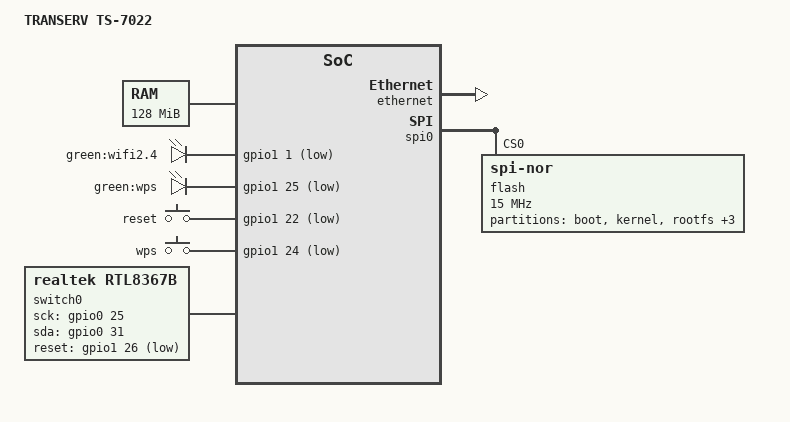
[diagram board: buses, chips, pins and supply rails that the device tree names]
// SPDX-License-Identifier: GPL-2.0
/*
 * TRANSERV TS-7022 (МТС) — Realtek RTL8197F-VG
 *
 * Данные сняты с живого устройства 2026-11-25:
 *   /proc/cpuinfo, /proc/mtd, /proc/iomem, /proc/interrupts,
 *   полный дамп флеша (16 МБ) и boot-log с холодного старта.
 *
 *   SoC     RTL8197F-VG (в логе "8197FS-VG"), MIPS 24Kc @ 999 МГц
 *   DRAM    DDR2 533 МГц, 128 МБ ("Detect dram size = 128MB")
 *   Flash   MXIC 16 МБ, erase 64K, SPI 15 МГц
 *   Switch  RTL8367B, chip id 0x6367-0020
 *   WiFi    2.4G встроенный RTL8197G; 5G RTL8812F по PCIe (10ec:f812)
 *   UART    ttyS0 @ 0x18147000, 38400 8N1
 *
 * Отличия от ELECTRA RX23302 (эталонного порта):
 *   - сигнатура загрузчика "KM70", а не "KE32";
 *   - rootfs начинается с 0x270000, а не с 0x300000;
 *   - раздел kernel 0x30000..0x270000 (0x240000), а не 0x2d0000;
 *   - 128 МБ ОЗУ;
 *   - свитч RTL8367B (0x6367), а не RTL8367D (0x6642).
 *
 * Второй банк 0x800000..0x1000000 — заводская копия, только чтение.
 * Область 0x0..0x30000 не трогать: bootcode (0x0..0x20000) и hwconfig
 * (0x20000..0x30000) с MAC-адресами и калибровкой радио.
 */

/dts-v1/;

#include "RTL8197FVG.dtsi"

#include <dt-bindings/gpio/gpio.h>
#include <dt-bindings/input/input.h>

/ {
	compatible = "transerv,ts7022", "realtek,rtl8197f-soc";
	model = "TRANSERV TS-7022";

	memory {
		device_type = "memory";
		reg = <0x0 0x8000000>;
	};

	chosen {
		bootargs = "console=ttyS0,38400";
	};
};

&ethernet {
	status = "okay";

	/*
	 * MAC из заводской таблицы hwconfig: заголовок "H601" на 0x20000,
	 * первая запись по 0x20007. В нашем дампе там f4:e5:78:66:61:0e.
	 */
	nvmem-cells = <&mac_factory>;
	nvmem-cell-names = "mac-address";
};

&spi0 {
	status = "okay";

	flash@0 {
		#address-cells = <1>;
		#size-cells = <1>;
		compatible = "jedec,spi-nor";
		reg = <0>;

		/* Как у стока: 15 МГц, делитель 7. */
		spi-max-frequency = <15000000>;

		partitions {
			compatible = "fixed-partitions";
			#address-cells = <1>;
			#size-cells = <1>;

			partition@0 {
				label = "boot";
				reg = <0x000000 0x030000>;
				read-only;

				#address-cells = <1>;
				#size-cells = <1>;

				nvmem-layout {
					compatible = "fixed-layout";
					#address-cells = <1>;
					#size-cells = <1>;

					mac_factory: macaddr@20007 {
						compatible = "mac-base";
						reg = <0x20007 0x6>;
					};
				};
			};

			partition@30000 {
				label = "kernel";
				reg = <0x030000 0x240000>;
			};

			partition@270000 {
				label = "rootfs";
				reg = <0x270000 0x390000>;
			};

			partition@600000 {
				label = "rootfs_data";
				reg = <0x600000 0x1a0000>;
			};

			partition@7a0000 {
				label = "cfg";
				reg = <0x7a0000 0x060000>;
				read-only;
			};

			partition@800000 {
				label = "stock";
				reg = <0x800000 0x800000>;
				read-only;
			};
		};
	};
};

/*
 * GPIO: два банка по 32 линии. gpio0 - линии 0..31, gpio1 - 32..63
 * (номер линии внутри банка = линия - 32). Оба контроллера в dtsi
 * выключены, включаем здесь.
 */
&gpio0 {
	status = "okay";
};

&gpio1 {
	status = "okay";
};

/*
 * Светодиоды. Таблица снята со стокового ядра (0x6557b0, num_leds=3):
 *
 *   имя       линия  вывод  активный уровень
 *   wifi2.4   33     E1     0 (низкий = горит)
 *   wifi5     100    -      0
 *   wps       57     H1     0
 *
 * wifi5 на линии 100 сидит не на этих контроллерах (банки кончаются на
 * 63) и в стоке зажигается отдельным путём rtlk_set_led из драйвера
 * радио, поэтому в gpio-leds его нет: 5G будет работать без лампы.
 *
 * У wifi2.4 пин E1 по умолчанию занят альтернативной функцией; setup.c
 * переводит его в GPIO (BSP_PIN_MUX_SEL17, 0xB8000844, бит 28), но
 * драйвер радио после своего probe забирает пин обратно - поэтому
 * init.d/rx23302-led повторяет эту запись на каждой загрузке.
 *
 * Триггер в стоке - none: лампами управляет userspace. У нас wifi2.4
 * зажигается сразу (видно, что устройство живо), а netdev-триггер на
 * wlan0 ставит uci-defaults/99-rx23302-leds.
 */
/ {
	leds {
		compatible = "gpio-leds";

		wifi24_led: wifi2.4 {
			label = "green:wifi2.4";
			gpios = <&gpio1 1 GPIO_ACTIVE_LOW>;	/* линия 33, E1 */
			default-state = "on";
		};

		wps_led: wps {
			label = "green:wps";
			gpios = <&gpio1 25 GPIO_ACTIVE_LOW>;	/* линия 57, H1 */
			default-state = "off";
		};
	};
};

/*
 * Кнопки. Из стоковой функции rtl819x_gpio_peripheral_init (0x807218fc)
 * в platform_data уходят линии 54 и 56, обе активны низким уровнем
 * (flags = 1), плюс 57 - это светодиод wps, а не кнопка.
 *
 *   reset  линия 54, G6  -> KEY_RESTART
 *   wps    линия 56, H0  -> KEY_WPS_BUTTON
 *
 * Опрос, а не прерывания: прерывания этого GPIO-контроллера не проверены.
 */
/ {
	keys {
		compatible = "gpio-keys-polled";
		poll-interval = <20>;

		reset {
			label = "reset";
			gpios = <&gpio1 22 GPIO_ACTIVE_LOW>;	/* линия 54, G6 */
			linux,code = <KEY_RESTART>;
			debounce-interval = <60>;
		};

		wps {
			label = "wps";
			gpios = <&gpio1 24 GPIO_ACTIVE_LOW>;	/* линия 56, H0 */
			linux,code = <KEY_WPS_BUTTON>;
			debounce-interval = <60>;
		};
	};
};

/*
 * Внешний коммутатор RTL8367RB-VB (номер 0x6367, версия 0x0020).
 *
 * Драйвер rtl8367b (swconfig, switch0). Шина SMI на GPIO: SCK - линия 25,
 * SDA - линия 31, сброс - линия 58. Номера линий взяты из стоковой
 * функции smi_init(group=3, sck=1, sda=7): линия = (группа << 3) | бит,
 * то есть 24+1 и 24+7, и из platform_data линии сброса 58.
 *
 * realtek,cpu-port = <6>: драйвер считает id = cpu_port - 5 = 1, а
 * SDK для EXT_PORT0 (16) тоже даёт ext_id 1 (ext_id = port - 15).
 * Это ровно те регистры, которые писал сток: 0x1311 (форс-линк) и
 * 0x1307 (задержки RGMII). Не 7, как у RX23302: там другой чип и
 * другой внешний интерфейс (ext_id 2, регистры 0x13c4/0x13c5).
 *
 * realtek,extif = <cpu_port txdelay rxdelay mode force_mode txpause
 *                  rxpause link duplex speed>
 *   cpu_port 6, txdelay 0, rxdelay 5, mode 1 (RGMII),
 *   force_mode 1, txpause 1, rxpause 1, link 1, duplex 1, speed 2 (1000M)
 *
 * Значения сняты с работающего стока (RTL83XX_init, 0x801fb338):
 * rtk_port_macForceLinkExt_set(EXT_PORT0, RGMII, {...}) -> 0x1311 = 0x1076,
 * затем rtk_port_rgmiiDelayExt_set(EXT_PORT0, tx=0, rx=2), позже rx=5 ->
 * 0x1307 = 0x0005. Драйвер сам собирает из этих десяти чисел те же самые
 * 0x1076 и 0x0005, поэтому init-regs для них не нужны.
 *
 * Гнёзда на внешнем коммутаторе: 0 - синий WAN, 1..4 - LAN1..LAN4.
 * Порты 5..7 не разведены.
 *
 * realtek,init-regs здесь СОЗНАТЕЛЬНО нет: таблица RX23302 написана для
 * другого чипа (Family D, 0x6642) и на 8367RB (Family C) ломает RGMII.
 * Всё остальное делает таблица самого драйвера (rtl8367c_initvals),
 * она же совпадает с веткой type 2 стоковой инициализации.
 */
/ {
	switch0: switch {
		compatible = "realtek,rtl8367b";
		sck-gpios = <&gpio0 25 GPIO_ACTIVE_HIGH>;	/* линия 25, D1 */
		sda-gpios = <&gpio0 31 GPIO_ACTIVE_HIGH>;	/* линия 31, D7 */
		reset-gpios = <&gpio1 26 GPIO_ACTIVE_LOW>;	/* линия 58, H2 */
		realtek,cpu-port = <6>;
		realtek,extif = <6 0 5 1 1 1 1 1 1 2>;
	};
};

/*
 * PCIe не включаем, как и на RX23302: у released-сборки RX23302 5 ГГц
 * работает на том же RTL8812F при выключенном pcie0 - радио поднимает
 * сам драйвер 8192fe через свои шинные функции, а не через PCIe-хост.
 */

